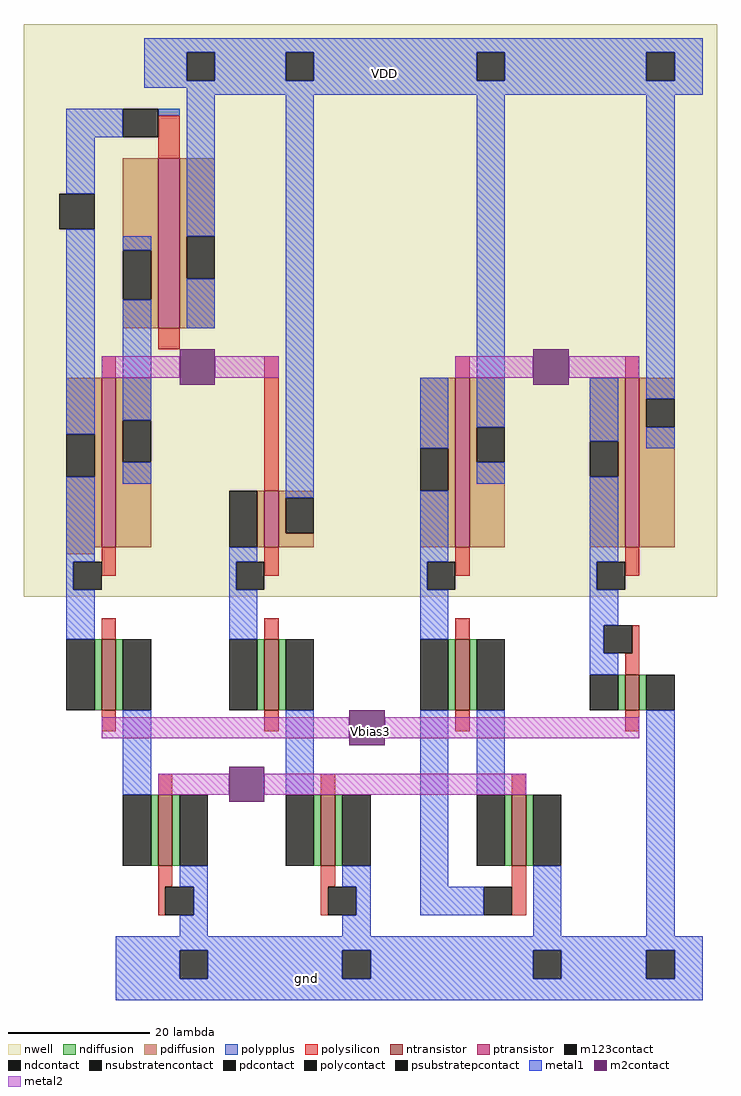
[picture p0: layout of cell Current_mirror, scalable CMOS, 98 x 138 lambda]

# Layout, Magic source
magic
tech scmos
<< nwell >>
rect -13 -15 85 66
<< ntransistor >>
rect -2 -31 0 -21
rect 21 -31 23 -21
rect 48 -31 50 -21
rect 72 -31 74 -26
rect 6 -53 8 -43
rect 29 -53 31 -43
rect 56 -53 58 -43
<< ptransistor >>
rect 6 23 9 47
rect -2 -8 0 16
rect 21 -8 23 0
rect 48 -8 50 16
rect 72 -8 74 16
<< ndiffusion >>
rect -3 -31 -2 -21
rect 0 -31 1 -21
rect 20 -31 21 -21
rect 23 -31 24 -21
rect 47 -31 48 -21
rect 50 -31 51 -21
rect 71 -31 72 -26
rect 74 -31 75 -26
rect 5 -53 6 -43
rect 8 -53 9 -43
rect 28 -53 29 -43
rect 31 -53 32 -43
rect 55 -53 56 -43
rect 58 -53 59 -43
<< pdiffusion >>
rect 1 34 6 47
rect 5 27 6 34
rect 1 23 6 27
rect 9 36 14 47
rect 9 30 10 36
rect 9 23 14 30
rect -7 8 -2 16
rect -3 2 -2 8
rect -7 -8 -2 2
rect 0 10 5 16
rect 0 4 1 10
rect 0 -8 5 4
rect 43 6 48 16
rect 47 0 48 6
rect 20 -8 21 0
rect 23 -1 28 0
rect 23 -6 24 -1
rect 23 -8 28 -6
rect 43 -8 48 0
rect 50 9 55 16
rect 50 4 51 9
rect 50 -8 55 4
rect 67 7 72 16
rect 71 2 72 7
rect 67 -8 72 2
rect 74 13 79 16
rect 74 9 75 13
rect 74 -8 79 9
rect -7 -9 -3 -8
<< ndcontact >>
rect -7 -31 -3 -21
rect 1 -31 5 -21
rect 16 -31 20 -21
rect 24 -31 28 -21
rect 43 -31 47 -21
rect 51 -31 55 -21
rect 67 -31 71 -26
rect 75 -31 79 -26
rect 1 -53 5 -43
rect 9 -53 13 -43
rect 24 -53 28 -43
rect 32 -53 36 -43
rect 51 -53 55 -43
rect 59 -53 63 -43
<< pdcontact >>
rect 1 27 5 34
rect 10 30 14 36
rect -7 2 -3 8
rect 1 4 5 10
rect 43 0 47 6
rect 16 -8 20 0
rect 24 -6 28 -1
rect 51 4 55 9
rect 67 2 71 7
rect 75 9 79 13
<< psubstratepcontact >>
rect 9 -69 13 -65
rect 32 -69 36 -65
rect 59 -69 63 -65
rect 75 -69 79 -65
<< nsubstratencontact >>
rect 10 58 14 62
rect 24 58 28 62
rect 51 58 55 62
rect 75 58 79 62
<< polysilicon >>
rect 6 47 9 53
rect 6 20 9 23
rect -2 16 0 19
rect 21 0 23 19
rect 48 16 50 19
rect 72 16 74 19
rect -2 -12 0 -8
rect 21 -12 23 -8
rect 48 -12 50 -8
rect 72 -12 74 -8
rect -2 -21 0 -18
rect 21 -21 23 -18
rect 48 -21 50 -18
rect 73 -23 74 -19
rect 72 -26 74 -23
rect -2 -34 0 -31
rect 21 -34 23 -31
rect 48 -34 50 -31
rect 72 -34 74 -31
rect 6 -43 8 -40
rect 29 -43 31 -40
rect 56 -43 58 -40
rect 6 -56 8 -53
rect 29 -56 31 -53
rect 6 -60 7 -56
rect 29 -60 30 -56
rect 56 -60 58 -53
<< polycontact >>
rect 1 50 6 54
rect -6 -14 -2 -10
rect 17 -14 21 -10
rect 44 -14 48 -10
rect 68 -14 72 -10
rect 69 -23 73 -19
rect 7 -60 11 -56
rect 30 -60 34 -56
rect 52 -60 56 -56
<< polypplus >>
rect 6 53 9 54
<< metal1 >>
rect 4 62 83 64
rect 4 58 10 62
rect 14 58 24 62
rect 28 58 51 62
rect 55 58 75 62
rect 79 58 83 62
rect 4 57 83 58
rect 10 56 83 57
rect -7 50 1 54
rect -7 42 -3 50
rect -7 8 -3 37
rect 10 36 14 56
rect -7 -10 -3 2
rect 1 34 5 36
rect 1 10 5 27
rect 10 23 14 30
rect 1 1 5 4
rect 24 -1 28 56
rect 43 6 47 16
rect 51 9 55 56
rect 51 1 55 4
rect 67 7 71 16
rect 75 13 79 56
rect 75 6 79 9
rect 16 -10 20 -8
rect 43 -10 47 0
rect 67 -10 71 2
rect -7 -14 -6 -10
rect 16 -14 17 -10
rect 43 -14 44 -10
rect 67 -14 68 -10
rect -7 -21 -3 -14
rect 16 -21 20 -14
rect 43 -21 47 -14
rect 67 -19 71 -14
rect 1 -43 5 -31
rect 24 -43 28 -31
rect 9 -56 13 -53
rect 32 -56 36 -53
rect 11 -60 13 -56
rect 34 -60 36 -56
rect 43 -56 47 -31
rect 67 -23 69 -19
rect 67 -26 71 -23
rect 51 -43 55 -31
rect 43 -60 52 -56
rect 9 -63 13 -60
rect 32 -63 36 -60
rect 59 -63 63 -53
rect 75 -63 79 -31
rect 0 -65 83 -63
rect 0 -69 9 -65
rect 13 -69 32 -65
rect 36 -69 59 -65
rect 63 -69 75 -65
rect 79 -69 83 -65
rect 0 -72 83 -69
<< m2contact >>
rect 9 15 14 20
rect 59 15 64 20
rect 16 -44 21 -39
rect 33 -36 38 -31
<< metal2 >>
rect -2 16 9 19
rect 14 16 23 19
rect 48 16 59 19
rect 64 16 74 19
rect -2 -35 33 -32
rect 38 -35 74 -32
rect 6 -43 16 -40
rect 21 -43 58 -40
<< m123contact >>
rect -8 37 -3 42
<< labels >>
rlabel m2contact 36 -34 36 -34 1 Vbias3
rlabel metal1 38 59 38 59 1 VDD
rlabel metal1 27 -69 27 -69 1 gnd
<< end >>
